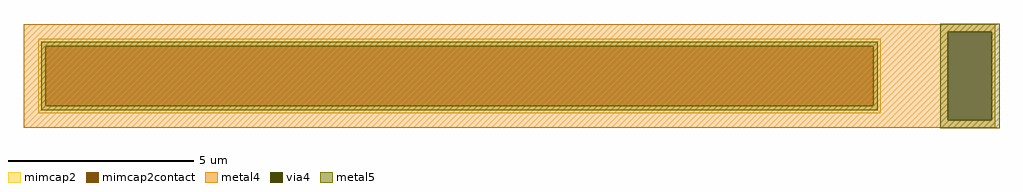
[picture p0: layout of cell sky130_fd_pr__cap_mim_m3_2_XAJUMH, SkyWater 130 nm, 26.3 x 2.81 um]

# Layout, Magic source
magic
tech sky130A
magscale 1 2
<< metal4 >>
rect -2619 239 2619 280
rect -2619 -239 2363 239
rect 2599 -239 2619 239
rect -2619 -280 2619 -239
<< via4 >>
rect 2363 -239 2599 239
<< mimcap2 >>
rect -2539 160 2001 200
rect -2539 -160 -2499 160
rect 1961 -160 2001 160
rect -2539 -200 2001 -160
<< mimcap2contact >>
rect -2499 -160 1961 160
<< metal5 >>
rect 2321 239 2641 281
rect -2523 160 1985 184
rect -2523 -160 -2499 160
rect 1961 -160 1985 160
rect -2523 -184 1985 -160
rect 2321 -239 2363 239
rect 2599 -239 2641 239
rect 2321 -281 2641 -239
<< properties >>
string FIXED_BBOX -2619 -280 2081 280
string gencell sky130_fd_pr__cap_mim_m3_2
string library sky130
string parameters w 22.7 l 2.00 val 100.186 carea 2.00 cperi 0.19 class capacitor nx 1 ny 1 dummy 0 square 0 lmin 2.00 wmin 2.00 lmax 30.0 wmax 30.0 dc 0 bconnect 1 tconnect 1 ccov 100
string sky130_fd_pr__cap_mim_m3_2_XAJUMH parameters
<< end >>
